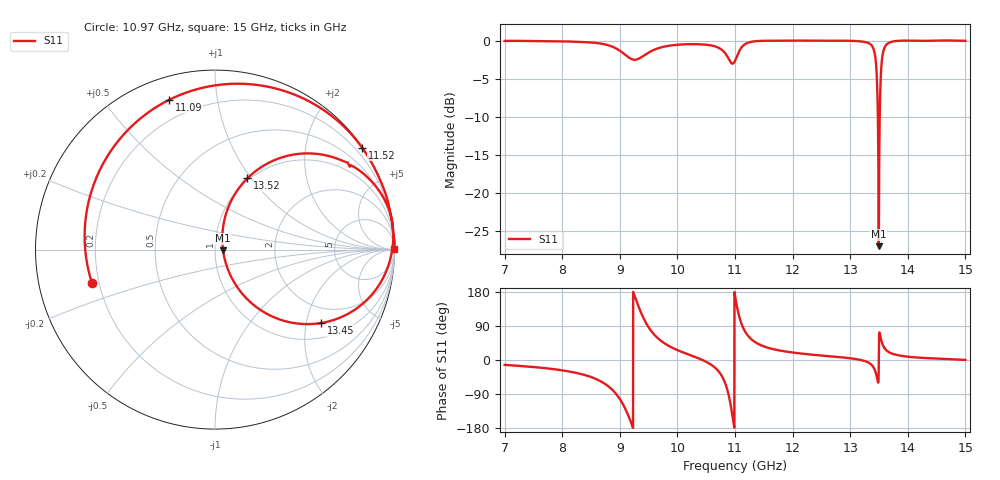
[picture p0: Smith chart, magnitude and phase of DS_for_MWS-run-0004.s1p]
! TOUCHSTONE file generated by CST DESIGN STUDIO
! Date and time: Mon Feb 10 16:44:09 2025
! Project name: C:\Work\MatlabApps\UnitCellType2OptimizationMatlab\CST\unitcell.cst
! Tree item: Tasks\Sweep1\SPara1\S-Parameters
! Header version: 2024
! Port assignment regex: !\s*Touchstone port\s*([0-9]+)\s*=\s*(CST MWS port|CST DES external port|CST DES block port)\s*(.+)\s* \(\"(.*)\"\)(\s*mode\s*([0-9]+))?.*
! Touchstone port assignment:
! Touchstone port 1 = CST DES external port 1 ("")
# GHz S MA R 50
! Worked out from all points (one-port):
!   4001 points, 7 GHz to 15 GHz, reference 50 ohm
!   lowest |S11| = -27.0 dB at 13.5 GHz (marker M1), VSWR 1.09, Z = 54.7 - j0.384 ohm
!   |S11| at or under -10 dB: 13.48032 GHz to 13.51258 GHz (32.27 MHz wide, 0.239 % of centre)
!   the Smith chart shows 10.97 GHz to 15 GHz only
!   S11 on the Smith chart (normalised r, x): 10.97 GHz: 0.17, -0.13; 11.09 GHz: 0.10, +0.74; 11.52 GHz: 0.02, +3.20; 13.45 GHz: 1.45, -2.45; 13.52 GHz: 0.98, +0.96; 15 GHz: open
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7  0.9956 -12.9
8  0.9892 -27.3
8.628  0.961 -53.1
9  0.8581 -102.8
9.11  0.7979 -133.5
9.23  0.7505 -179.3
9.444  0.81 100.8
9.682  0.8945 54.7
10  0.9388 26.1
10.696  0.904 -26.6
10.796  0.8533 -49.3
10.878  0.7729 -85.0
10.926  0.7199 -119.7
10.974  0.7103 -165.0
11  0.736 169.8
11.088  0.8729 106.9
11.254  0.9762 59.1
11.522  0.9971 34.7
12  0.9996 19.8
13  0.9968 4.6
13.346  0.9499 -9.6
13.446  0.7193 -34.6
13.496  0.04471 -4.5
13.52  0.4365 65.6
13.562  0.8036 41.0
13.644  0.9519 23.5
14  0.9997 8.7
15  0.9968 0.2
